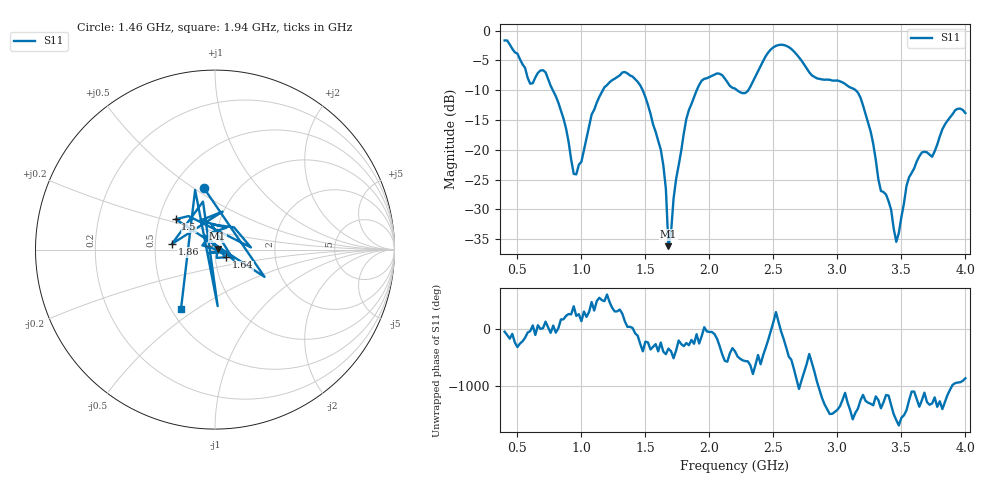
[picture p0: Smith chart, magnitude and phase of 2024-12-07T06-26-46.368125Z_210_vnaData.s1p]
!Created with skrf (http://scikit-rf.org).
# Hz S RI R 50.0
!freq ReS11 ImS11
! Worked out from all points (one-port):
!   181 points, 400 MHz to 4 GHz, reference 50 ohm
!   lowest |S11| = -36.2 dB at 1.68 GHz (marker M1), VSWR 1.03, Z = 51.5 + j0.519 ohm
!   |S11| at or under -10 dB: 776.6 MHz to 1.168 GHz (391 MHz wide, 40.2 % of centre); 1.479 GHz to 1.901 GHz (421.7 MHz wide, 25 % of centre); 3.143 GHz to end of sweep (the widest 3 of 4)
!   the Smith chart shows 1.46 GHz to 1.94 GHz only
!   S11 on the Smith chart (normalised r, x): 1.46 GHz: 0.71, +0.55; 1.5 GHz: 0.61, +0.22; 1.64 GHz: 1.12, -0.10; 1.86 GHz: 0.61, +0.04; 1.94 GHz: 0.56, -0.43
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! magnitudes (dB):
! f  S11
! 400 MHz  -1.6
! 600 MHz  -8.9
! 720 MHz  -7.0
! 860 MHz  -14.8
! 960 MHz  -24.1
! 1.12 GHz  -12.1
! 1.3 GHz  -7.5
! 1.46 GHz  -9.2
! 1.5 GHz  -11.2
! 1.64 GHz  -22.6
! 1.66 GHz  -26.6
! 1.68 GHz  -36.2
! 1.76 GHz  -22.6
! 1.86 GHz  -12.3
! 1.94 GHz  -8.4
! 2.2 GHz  -9.7
! 2.3 GHz  -10.1
! 2.5 GHz  -2.8
! 2.66 GHz  -3.5
! 3.1 GHz  -9.5
! 3.24 GHz  -15.4
! 3.34 GHz  -26.9
! 3.4 GHz  -28.7
! 3.46 GHz  -35.4
! 3.56 GHz  -24.6
! 3.74 GHz  -21.2
! 3.92 GHz  -13.4
! 4 GHz  -13.8
